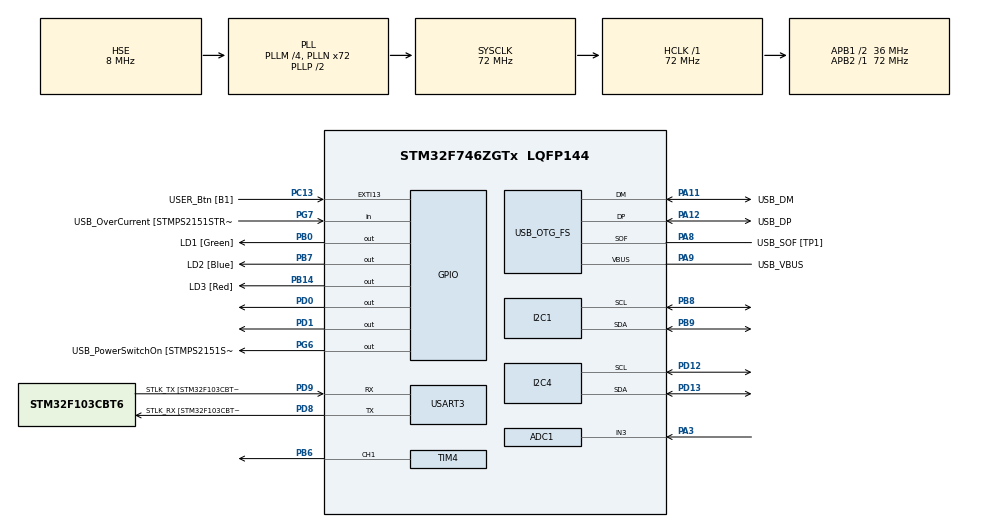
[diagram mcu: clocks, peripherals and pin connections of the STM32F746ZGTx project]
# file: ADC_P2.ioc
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ADC1.Channel-0\#ChannelRegularConversion=ADC_CHANNEL_3
ADC1.NbrOfConversionFlag=1
ADC1.Rank-0\#ChannelRegularConversion=1
ADC1.SamplingTime-0\#ChannelRegularConversion=ADC_SAMPLETIME_3CYCLES
ADC1.master=1
I2C1.Timing=0x00808CD2
I2C4.Timing=0x00808CD2
Mcu.Family=STM32F7
Mcu.Name=STM32F746ZGTx
Mcu.Package=LQFP144
NVIC.ADC_IRQn=true\:0\:0\:false\:false\:true\:true\:true\:true
NVIC.PriorityGroup=NVIC_PRIORITYGROUP_4
PA1.GPIO_Label=RMII_REF_CLK [LAN8742A-CZ-TR_REFCLK0]
PA1.Signal=ETH_REF_CLK
PA10.GPIO_Label=USB_ID
PA10.Signal=USB_OTG_FS_ID
PA11.GPIO_Label=USB_DM
PA11.Mode=Device_Only
PA11.Signal=USB_OTG_FS_DM
PA12.GPIO_Label=USB_DP
PA12.Mode=Device_Only
PA12.Signal=USB_OTG_FS_DP
PA13.GPIO_Label=TMS
PA13.Mode=Serial_Wire
PA13.Signal=SYS_JTMS-SWDIO
PA14.GPIO_Label=TCK
PA14.Mode=Serial_Wire
PA14.Signal=SYS_JTCK-SWCLK
PA2.GPIO_Label=RMII_MDIO [LAN8742A-CZ-TR_MDIO]
PA2.Signal=ETH_MDIO
PA3.Signal=ADCx_IN3
PA7.GPIO_Label=RMII_CRS_DV [LAN8742A-CZ-TR_CRS_DV]
PA7.Signal=ETH_CRS_DV
PA8.GPIO_Label=USB_SOF [TP1]
PA8.Mode=Activate_SOF_FS
PA8.Signal=USB_OTG_FS_SOF
PA9.GPIO_Label=USB_VBUS
PA9.Mode=Activate_VBUS
PA9.Signal=USB_OTG_FS_VBUS
PB0.GPIO_Label=LD1 [Green]
PB0.Signal=GPIO_Output
PB13.GPIO_Label=RMII_TXD1 [LAN8742A-CZ-TR_TXD1]
PB13.Signal=ETH_TXD1
PB14.GPIO_Label=LD3 [Red]
PB14.GPIO_Speed=GPIO_SPEED_FREQ_LOW
PB14.Signal=GPIO_Output
PB3.GPIO_Label=SW0
PB3.Signal=SYS_JTDO-SWO
PB6.Signal=S_TIM4_CH1
PB7.GPIO_Label=LD2 [Blue]
PB7.Signal=GPIO_Output
PB8.Mode=I2C
PB8.Signal=I2C1_SCL
PB9.Mode=I2C
PB9.Signal=I2C1_SDA
PC1.GPIO_Label=RMII_MDC [LAN8742A-CZ-TR_MDC]
PC1.Signal=ETH_MDC
PC13.GPIO_Label=USER_Btn [B1]
PC13.Signal=GPXTI13
PC14/OSC32_IN.Mode=LSE-External-Oscillator
PC14/OSC32_IN.Signal=RCC_OSC32_IN
PC15/OSC32_OUT.Mode=LSE-External-Oscillator
PC15/OSC32_OUT.Signal=RCC_OSC32_OUT
PC4.GPIO_Label=RMII_RXD0 [LAN8742A-CZ-TR_RXD0]
PC4.Signal=ETH_RXD0
PC5.GPIO_Label=RMII_RXD1 [LAN8742A-CZ-TR_RXD1]
PC5.Signal=ETH_RXD1
PD0.Signal=GPIO_Output
PD1.Signal=GPIO_Output
PD12.Mode=I2C
PD12.Signal=I2C4_SCL
PD13.Mode=I2C
PD13.Signal=I2C4_SDA
PD8.GPIO_Label=STLK_RX [STM32F103CBT6_PA3]
PD8.Mode=Asynchronous
PD8.Signal=USART3_TX
PD9.GPIO_Label=STLK_TX [STM32F103CBT6_PA2]
PD9.Mode=Asynchronous
PD9.Signal=USART3_RX
PG11.GPIO_Label=RMII_TX_EN [LAN8742A-CZ-TR_TXEN]
PG11.Signal=ETH_TX_EN
PG13.GPIO_Label=RMII_TXD0 [LAN8742A-CZ-TR_TXD0]
PG13.Signal=ETH_TXD0
PG6.GPIO_Label=USB_PowerSwitchOn [STMPS2151STR_EN]
PG6.Signal=GPIO_Output
PG7.GPIO_Label=USB_OverCurrent [STMPS2151STR_FAULT]
PG7.Signal=GPIO_Input
PH0/OSC_IN.GPIO_Label=MCO [STM32F103CBT6_PA8]
PH0/OSC_IN.Mode=HSE-External-Clock-Source
PH0/OSC_IN.Signal=RCC_OSC_IN
PH1/OSC_OUT.Mode=HSE-External-Clock-Source
PH1/OSC_OUT.Signal=RCC_OSC_OUT
ProjectManager.HeapSize=0x200
ProjectManager.StackSize=0x400
ProjectManager.TargetToolchain=STM32CubeIDE
RCC.48MHZClocksFreq_Value=24000000
RCC.AHBFreq_Value=72000000
RCC.APB1CLKDivider=RCC_HCLK_DIV2
RCC.APB1Freq_Value=36000000
RCC.APB1TimFreq_Value=72000000
RCC.APB2Freq_Value=72000000
RCC.APB2TimFreq_Value=72000000
RCC.CortexFreq_Value=72000000
RCC.HCLKFreq_Value=72000000
RCC.HSE_VALUE=8000000
RCC.HSI_VALUE=16000000
RCC.PLLM=4
RCC.PLLMUL=RCC_PLL_MUL9
RCC.PLLN=72
RCC.PLLQ=3
RCC.PRESCALERUSB=RCC_USBCLKSOURCE_PLL_DIV1_5
RCC.SYSCLKFreq_VALUE=72000000
RCC.SYSCLKSource=RCC_SYSCLKSOURCE_PLLCLK
RCC.SYSCLKSourceVirtual=RCC_SYSCLKSOURCE_PLLCLK
RCC.USBFreq_Value=48000000
RCC.VCOOutputFreq_Value=144000000
SH.ADCx_IN3.0=ADC1_IN3,IN3
SH.S_TIM4_CH1.0=TIM4_CH1,PWM Generation1 CH1
TIM4.AutoReloadPreload=TIM_AUTORELOAD_PRELOAD_ENABLE
TIM4.Channel-PWM\ Generation1\ CH1=TIM_CHANNEL_1
TIM4.Period=999
TIM4.Prescaler=71
USART3.VirtualMode-Asynchronous=VM_ASYNC
USB_OTG_FS.VirtualMode=Device_Only
VP_TIM4_VS_ClockSourceINT.Mode=Internal
board=NUCLEO-F746ZG

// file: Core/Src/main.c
/* USER CODE BEGIN Header */
/**
  ******************************************************************************
  * @file           : main.c
  * @brief          : Main program body
  ******************************************************************************
  * ADC reading from A0 (PA3) pin
  * Two versions:
  *  - direct reading (HAL_ADC_PollForConversion)
  *  - interrupt reading
  ******************************************************************************
  */
/* USER CODE END Header */
#include "main.h"

/* USER CODE BEGIN Includes */
#include "i2c-lcd.h"
#include "BMPXX80.h"

#include <stdio.h>
#include <string.h>
/* USER CODE END Includes */

ADC_HandleTypeDef hadc1;

I2C_HandleTypeDef hi2c1;
I2C_HandleTypeDef hi2c4;

TIM_HandleTypeDef htim4;

UART_HandleTypeDef huart3;

PCD_HandleTypeDef hpcd_USB_OTG_FS;

/* USER CODE BEGIN PV */
unsigned long lastTime;
static float Y, P = 0.0;
int32_t pressure;
float temperature, huminidity, error, wypelnienie;
float temp_zadana=27, I = 0.0, wzmI = 0.16, roznica = 0;
int AdcValue=0 , zad = 28, i =1;
int state = 0;
/* USER CODE END PV */

void SystemClock_Config(void);
static void MX_GPIO_Init(void);
static void MX_USART3_UART_Init(void);
static void MX_USB_OTG_FS_PCD_Init(void);
static void MX_ADC1_Init(void);
static void MX_I2C1_Init(void);
static void MX_I2C4_Init(void);
static void MX_TIM4_Init(void);

/* USER CODE BEGIN 0 */

float regulator(float e_new, int i, float roznica) {

	//Oblcizany czas próbkowania
	unsigned long now = HAL_GetTick();
	double timeChange = (double)(now - lastTime);

	// Parametry regulatora
	static const float kp = 19.7517;
	static const float ki = 0.078;
	static float e = 0.0;

	//Wyznaczenie parametrów regulatora
	P = e_new*kp;
	//Dodane wzmocnienie dla pętli anty-windup
	if (i == 1)
			{I = (I + (ki * (((e_new + e) * timeChange/1000) / 2))) + wzmI*roznica;}
	else
		I = (I + (ki * (((e_new + e) * timeChange/1000) / 2)));

	// Obliczenie sygnału sterującego PWM oraz podanie czasu pobrania kolejnej próbki
	e = e_new;
	Y = P + I;

	lastTime = now;

	return Y;
}

/* USER CODE END 0 */

int main(void)
{
  /* USER CODE BEGIN 1 */
	#define MAX_LENGTH 30
    char text[MAX_LENGTH];

  //uint16_t length;
  /* USER CODE END 1 */

  /* MCU Configuration--------------------------------------------------------*/

  /* Reset of all peripherals, Initializes the Flash interface and the Systick. */
  HAL_Init();

  /* Configure the system clock */
  SystemClock_Config();

  /* Initialize all configured peripherals */
  MX_GPIO_Init();
  MX_USART3_UART_Init();
  MX_USB_OTG_FS_PCD_Init();
  MX_ADC1_Init();
  MX_I2C1_Init();
  MX_I2C4_Init();
  MX_TIM4_Init();
  /* USER CODE BEGIN 2 */

  // Czujnik temperatury
  BMP280_Init(&hi2c1, BMP280_TEMPERATURE_16BIT, BMP280_STANDARD, BMP280_FORCEDMODE);

  //Wyświetlacz LCD
  lcd_init ();

  //Sygnał PWM podawany na bazę tranzystora
  HAL_TIM_PWM_Start(&htim4, TIM_CHANNEL_1);

  /* USER CODE END 2 */

  /* Infinite loop */
  while (1)
  {

    /* USER CODE BEGIN 3 */

	  //Odczyt temperatury i ciśnienia
 	  BMP280_ReadTemperatureAndPressure(&temperature, &pressure);
 	  	  //Zamiana na hPa
 	  	  pressure = pressure/100;

	  	  // Przesyłanie wartości temperatury przez UART
	  	  sprintf((char*)text, "%.2f, ", temperature);					// Formatowanie wartości temperatury z dwoma miejscami po przecinku
	  	  HAL_UART_Transmit(&huart3, (uint8_t*)text, strlen(text), 1000);	 // Przesłanie sformatowanego tekstu przez UART

	  	  lcd_clear ();
	  	  lcd_put_cur(0, 0);											// Ustawienie kursora na początkową pozycję
	  	  sprintf((char*)text, "Temp.  %.2f  C", temperature);			// Tworzenie tekstu z aktualną temperaturą
	  	  lcd_send_string(text);
	  	  lcd_put_cur(1, 0);

	  	  // Pomiar wartości na kanale ADC
	  	  HAL_ADC_Start(&hadc1); 										// Rozpoczęcie konwersji ADC na kanale hadc1
	  	  HAL_ADC_PollForConversion(&hadc1, HAL_MAX_DELAY);				// Oczekiwanie na zakończenie konwersji ADC w trybie Polling
	  	  AdcValue = HAL_ADC_GetValue(&hadc1);							// Odczytanie wartości
	  	  HAL_ADC_Start_IT(&hadc1);										// Ponowne uruchomienie konwersji ADC w trybie przerwań
	  	  HAL_Delay(100);

	  	  sprintf((char*)text, "T_zad. %.2f  C", temp_zadana);
	  	  lcd_send_string(text);

	  	  //Obliczana wartość uchybu w stopniach oraz sygnału sterującego w % wypełnienia
	  	  error = temp_zadana-temperature;
	  	  wypelnienie = regulator(error, i, roznica);

	  	  if (wypelnienie >= 0){
	  		  //100% wypełnienia to wartość 1000 jako argument funkcji
	  		  wypelnienie = wypelnienie*10;

	  		  //Ograniczenie sygnału sterującego
	  		  if(wypelnienie > 1000){
	  			  //Różnica przechodzi w sprzężeniu zwrotnym do częsci całkującej
	  			  roznica = 1000-wypelnienie;
	  			  wypelnienie = 1000;
	  			  i = 1;
	  		  }
	  		  else{
	  			  __HAL_TIM_SET_COMPARE(&htim4, TIM_CHANNEL_1, wypelnienie);
	  			  i = 0;
	  			  roznica = 0;}
	  	  	  }
	  	  else if (wypelnienie < 0 ){
	  		//Ograniczenie sygnału sterującego
	  	  	  wypelnienie = 0;
	  	  	__HAL_TIM_SET_COMPARE(&htim4, TIM_CHANNEL_1, wypelnienie);
	  	  	i = 0 ;
	  	  	roznica = 0;
	  	  	}
	  	  if(temp_zadana<temperature){
	  		HAL_GPIO_WritePin(GPIOD, GPIO_PIN_1, GPIO_PIN_SET);
	  		HAL_GPIO_WritePin(GPIOD, GPIO_PIN_0, GPIO_PIN_RESET);
	  	  }
	  	  else{
	  		HAL_GPIO_WritePin(GPIOD, GPIO_PIN_0, GPIO_PIN_SET);
	  		HAL_GPIO_WritePin(GPIOD, GPIO_PIN_1, GPIO_PIN_RESET);
	  	  }

	  	  HAL_Delay(500);
  }

  /* USER CODE END 3 */
}

void SystemClock_Config(void)
{
  RCC_OscInitTypeDef RCC_OscInitStruct = {0};
  RCC_ClkInitTypeDef RCC_ClkInitStruct = {0};

  /** Configure LSE Drive Capability
  */
  HAL_PWR_EnableBkUpAccess();

  /** Configure the main internal regulator output voltage
  */
  __HAL_RCC_PWR_CLK_ENABLE();
  __HAL_PWR_VOLTAGESCALING_CONFIG(PWR_REGULATOR_VOLTAGE_SCALE3);

  /** Initializes the RCC Oscillators according to the specified parameters
  * in the RCC_OscInitTypeDef structure.
  */
  RCC_OscInitStruct.OscillatorType = RCC_OSCILLATORTYPE_HSE;
  RCC_OscInitStruct.HSEState = RCC_HSE_BYPASS;
  RCC_OscInitStruct.PLL.PLLState = RCC_PLL_ON;
  RCC_OscInitStruct.PLL.PLLSource = RCC_PLLSOURCE_HSE;
  RCC_OscInitStruct.PLL.PLLM = 4;
  RCC_OscInitStruct.PLL.PLLN = 72;
  RCC_OscInitStruct.PLL.PLLP = RCC_PLLP_DIV2;
  RCC_OscInitStruct.PLL.PLLQ = 3;
  if (HAL_RCC_OscConfig(&RCC_OscInitStruct) != HAL_OK)
  {
    Error_Handler();
  }

  /** Initializes the CPU, AHB and APB buses clocks
  */
  RCC_ClkInitStruct.ClockType = RCC_CLOCKTYPE_HCLK|RCC_CLOCKTYPE_SYSCLK
                              |RCC_CLOCKTYPE_PCLK1|RCC_CLOCKTYPE_PCLK2;
  RCC_ClkInitStruct.SYSCLKSource = RCC_SYSCLKSOURCE_PLLCLK;
  RCC_ClkInitStruct.AHBCLKDivider = RCC_SYSCLK_DIV1;
  RCC_ClkInitStruct.APB1CLKDivider = RCC_HCLK_DIV2;
  RCC_ClkInitStruct.APB2CLKDivider = RCC_HCLK_DIV1;

  if (HAL_RCC_ClockConfig(&RCC_ClkInitStruct, FLASH_LATENCY_2) != HAL_OK)
  {
    Error_Handler();
  }
}

static void MX_ADC1_Init(void)
{

  ADC_ChannelConfTypeDef sConfig = {0};

  /** Configure the global features of the ADC (Clock, Resolution, Data Alignment and number of conversion)
  */
  hadc1.Instance = ADC1;
  hadc1.Init.ClockPrescaler = ADC_CLOCK_SYNC_PCLK_DIV2;
  hadc1.Init.Resolution = ADC_RESOLUTION_12B;
  hadc1.Init.ScanConvMode = ADC_SCAN_DISABLE;
  hadc1.Init.ContinuousConvMode = DISABLE;
  hadc1.Init.DiscontinuousConvMode = DISABLE;
  hadc1.Init.ExternalTrigConvEdge = ADC_EXTERNALTRIGCONVEDGE_NONE;
  hadc1.Init.ExternalTrigConv = ADC_SOFTWARE_START;
  hadc1.Init.DataAlign = ADC_DATAALIGN_RIGHT;
  hadc1.Init.NbrOfConversion = 1;
  hadc1.Init.DMAContinuousRequests = DISABLE;
  hadc1.Init.EOCSelection = ADC_EOC_SINGLE_CONV;
  if (HAL_ADC_Init(&hadc1) != HAL_OK)
  {
    Error_Handler();
  }

  /** Configure for the selected ADC regular channel its corresponding rank in the sequencer and its sample time.
  */
  sConfig.Channel = ADC_CHANNEL_3;
  sConfig.Rank = ADC_REGULAR_RANK_1;
  sConfig.SamplingTime = ADC_SAMPLETIME_3CYCLES;
  if (HAL_ADC_ConfigChannel(&hadc1, &sConfig) != HAL_OK)
  {
    Error_Handler();
  }

}

static void MX_I2C1_Init(void)
{

  hi2c1.Instance = I2C1;
  hi2c1.Init.Timing = 0x00808CD2;
  hi2c1.Init.OwnAddress1 = 0;
  hi2c1.Init.AddressingMode = I2C_ADDRESSINGMODE_7BIT;
  hi2c1.Init.DualAddressMode = I2C_DUALADDRESS_DISABLE;
  hi2c1.Init.OwnAddress2 = 0;
  hi2c1.Init.OwnAddress2Masks = I2C_OA2_NOMASK;
  hi2c1.Init.GeneralCallMode = I2C_GENERALCALL_DISABLE;
  hi2c1.Init.NoStretchMode = I2C_NOSTRETCH_DISABLE;
  if (HAL_I2C_Init(&hi2c1) != HAL_OK)
  {
    Error_Handler();
  }

  /** Configure Analogue filter
  */
  if (HAL_I2CEx_ConfigAnalogFilter(&hi2c1, I2C_ANALOGFILTER_ENABLE) != HAL_OK)
  {
    Error_Handler();
  }

  /** Configure Digital filter
  */
  if (HAL_I2CEx_ConfigDigitalFilter(&hi2c1, 0) != HAL_OK)
  {
    Error_Handler();
  }

}

static void MX_I2C4_Init(void)
{

  hi2c4.Instance = I2C4;
  hi2c4.Init.Timing = 0x00808CD2;
  hi2c4.Init.OwnAddress1 = 0;
  hi2c4.Init.AddressingMode = I2C_ADDRESSINGMODE_7BIT;
  hi2c4.Init.DualAddressMode = I2C_DUALADDRESS_DISABLE;
  hi2c4.Init.OwnAddress2 = 0;
  hi2c4.Init.OwnAddress2Masks = I2C_OA2_NOMASK;
  hi2c4.Init.GeneralCallMode = I2C_GENERALCALL_DISABLE;
  hi2c4.Init.NoStretchMode = I2C_NOSTRETCH_DISABLE;
  if (HAL_I2C_Init(&hi2c4) != HAL_OK)
  {
    Error_Handler();
  }

  /** Configure Analogue filter
  */
  if (HAL_I2CEx_ConfigAnalogFilter(&hi2c4, I2C_ANALOGFILTER_ENABLE) != HAL_OK)
  {
    Error_Handler();
  }

  /** Configure Digital filter
  */
  if (HAL_I2CEx_ConfigDigitalFilter(&hi2c4, 0) != HAL_OK)
  {
    Error_Handler();
  }

}

static void MX_TIM4_Init(void)
{

  TIM_ClockConfigTypeDef sClockSourceConfig = {0};
  TIM_MasterConfigTypeDef sMasterConfig = {0};
  TIM_OC_InitTypeDef sConfigOC = {0};

  htim4.Instance = TIM4;
  htim4.Init.Prescaler = 71;
  htim4.Init.CounterMode = TIM_COUNTERMODE_UP;
  htim4.Init.Period = 999;
  htim4.Init.ClockDivision = TIM_CLOCKDIVISION_DIV1;
  htim4.Init.AutoReloadPreload = TIM_AUTORELOAD_PRELOAD_ENABLE;
  if (HAL_TIM_Base_Init(&htim4) != HAL_OK)
  {
    Error_Handler();
  }
  sClockSourceConfig.ClockSource = TIM_CLOCKSOURCE_INTERNAL;
  if (HAL_TIM_ConfigClockSource(&htim4, &sClockSourceConfig) != HAL_OK)
  {
    Error_Handler();
  }
  if (HAL_TIM_PWM_Init(&htim4) != HAL_OK)
  {
    Error_Handler();
  }
  sMasterConfig.MasterOutputTrigger = TIM_TRGO_RESET;
  sMasterConfig.MasterSlaveMode = TIM_MASTERSLAVEMODE_DISABLE;
  if (HAL_TIMEx_MasterConfigSynchronization(&htim4, &sMasterConfig) != HAL_OK)
  {
    Error_Handler();
  }
  sConfigOC.OCMode = TIM_OCMODE_PWM1;
  sConfigOC.Pulse = 0;
  sConfigOC.OCPolarity = TIM_OCPOLARITY_HIGH;
  sConfigOC.OCFastMode = TIM_OCFAST_DISABLE;
  if (HAL_TIM_PWM_ConfigChannel(&htim4, &sConfigOC, TIM_CHANNEL_1) != HAL_OK)
  {
    Error_Handler();
  }
  HAL_TIM_MspPostInit(&htim4);

}

static void MX_USART3_UART_Init(void)
{

  huart3.Instance = USART3;
  huart3.Init.BaudRate = 115200;
  huart3.Init.WordLength = UART_WORDLENGTH_8B;
  huart3.Init.StopBits = UART_STOPBITS_1;
  huart3.Init.Parity = UART_PARITY_NONE;
  huart3.Init.Mode = UART_MODE_TX_RX;
  huart3.Init.HwFlowCtl = UART_HWCONTROL_NONE;
  huart3.Init.OverSampling = UART_OVERSAMPLING_16;
  huart3.Init.OneBitSampling = UART_ONE_BIT_SAMPLE_DISABLE;
  huart3.AdvancedInit.AdvFeatureInit = UART_ADVFEATURE_NO_INIT;
  if (HAL_UART_Init(&huart3) != HAL_OK)
  {
    Error_Handler();
  }

}

static void MX_USB_OTG_FS_PCD_Init(void)
{

  hpcd_USB_OTG_FS.Instance = USB_OTG_FS;
  hpcd_USB_OTG_FS.Init.dev_endpoints = 6;
  hpcd_USB_OTG_FS.Init.speed = PCD_SPEED_FULL;
  hpcd_USB_OTG_FS.Init.dma_enable = DISABLE;
  hpcd_USB_OTG_FS.Init.phy_itface = PCD_PHY_EMBEDDED;
  hpcd_USB_OTG_FS.Init.Sof_enable = ENABLE;
  hpcd_USB_OTG_FS.Init.low_power_enable = DISABLE;
  hpcd_USB_OTG_FS.Init.lpm_enable = DISABLE;
  hpcd_USB_OTG_FS.Init.vbus_sensing_enable = ENABLE;
  hpcd_USB_OTG_FS.Init.use_dedicated_ep1 = DISABLE;
  if (HAL_PCD_Init(&hpcd_USB_OTG_FS) != HAL_OK)
  {
    Error_Handler();
  }

}

static void MX_GPIO_Init(void)
{
  GPIO_InitTypeDef GPIO_InitStruct = {0};

  /* GPIO Ports Clock Enable */
  __HAL_RCC_GPIOC_CLK_ENABLE();
  __HAL_RCC_GPIOH_CLK_ENABLE();
  __HAL_RCC_GPIOA_CLK_ENABLE();
  __HAL_RCC_GPIOB_CLK_ENABLE();
  __HAL_RCC_GPIOD_CLK_ENABLE();
  __HAL_RCC_GPIOG_CLK_ENABLE();

  /*Configure GPIO pin Output Level */
  HAL_GPIO_WritePin(GPIOB, LD1_Pin|LD3_Pin|LD2_Pin, GPIO_PIN_RESET);

  /*Configure GPIO pin Output Level */
  HAL_GPIO_WritePin(USB_PowerSwitchOn_GPIO_Port, USB_PowerSwitchOn_Pin, GPIO_PIN_RESET);

  /*Configure GPIO pin Output Level */
  HAL_GPIO_WritePin(GPIOD, GPIO_PIN_0|GPIO_PIN_1, GPIO_PIN_RESET);

  /*Configure GPIO pin : USER_Btn_Pin */
  GPIO_InitStruct.Pin = USER_Btn_Pin;
  GPIO_InitStruct.Mode = GPIO_MODE_IT_RISING;
  GPIO_InitStruct.Pull = GPIO_NOPULL;
  HAL_GPIO_Init(USER_Btn_GPIO_Port, &GPIO_InitStruct);

  /*Configure GPIO pins : RMII_MDC_Pin RMII_RXD0_Pin RMII_RXD1_Pin */
  GPIO_InitStruct.Pin = RMII_MDC_Pin|RMII_RXD0_Pin|RMII_RXD1_Pin;
  GPIO_InitStruct.Mode = GPIO_MODE_AF_PP;
  GPIO_InitStruct.Pull = GPIO_NOPULL;
  GPIO_InitStruct.Speed = GPIO_SPEED_FREQ_VERY_HIGH;
  GPIO_InitStruct.Alternate = GPIO_AF11_ETH;
  HAL_GPIO_Init(GPIOC, &GPIO_InitStruct);

  /*Configure GPIO pins : RMII_REF_CLK_Pin RMII_MDIO_Pin RMII_CRS_DV_Pin */
  GPIO_InitStruct.Pin = RMII_REF_CLK_Pin|RMII_MDIO_Pin|RMII_CRS_DV_Pin;
  GPIO_InitStruct.Mode = GPIO_MODE_AF_PP;
  GPIO_InitStruct.Pull = GPIO_NOPULL;
  GPIO_InitStruct.Speed = GPIO_SPEED_FREQ_VERY_HIGH;
  GPIO_InitStruct.Alternate = GPIO_AF11_ETH;
  HAL_GPIO_Init(GPIOA, &GPIO_InitStruct);

  /*Configure GPIO pins : LD1_Pin LD3_Pin LD2_Pin */
  GPIO_InitStruct.Pin = LD1_Pin|LD3_Pin|LD2_Pin;
  GPIO_InitStruct.Mode = GPIO_MODE_OUTPUT_PP;
  GPIO_InitStruct.Pull = GPIO_NOPULL;
  GPIO_InitStruct.Speed = GPIO_SPEED_FREQ_LOW;
  HAL_GPIO_Init(GPIOB, &GPIO_InitStruct);

  /*Configure GPIO pin : RMII_TXD1_Pin */
  GPIO_InitStruct.Pin = RMII_TXD1_Pin;
  GPIO_InitStruct.Mode = GPIO_MODE_AF_PP;
  GPIO_InitStruct.Pull = GPIO_NOPULL;
  GPIO_InitStruct.Speed = GPIO_SPEED_FREQ_VERY_HIGH;
  GPIO_InitStruct.Alternate = GPIO_AF11_ETH;
  HAL_GPIO_Init(RMII_TXD1_GPIO_Port, &GPIO_InitStruct);

  /*Configure GPIO pin : USB_PowerSwitchOn_Pin */
  GPIO_InitStruct.Pin = USB_PowerSwitchOn_Pin;
  GPIO_InitStruct.Mode = GPIO_MODE_OUTPUT_PP;
  GPIO_InitStruct.Pull = GPIO_NOPULL;
  GPIO_InitStruct.Speed = GPIO_SPEED_FREQ_LOW;
  HAL_GPIO_Init(USB_PowerSwitchOn_GPIO_Port, &GPIO_InitStruct);

  /*Configure GPIO pin : USB_OverCurrent_Pin */
  GPIO_InitStruct.Pin = USB_OverCurrent_Pin;
  GPIO_InitStruct.Mode = GPIO_MODE_INPUT;
  GPIO_InitStruct.Pull = GPIO_NOPULL;
  HAL_GPIO_Init(USB_OverCurrent_GPIO_Port, &GPIO_InitStruct);

  /*Configure GPIO pins : PD0 PD1 */
  GPIO_InitStruct.Pin = GPIO_PIN_0|GPIO_PIN_1;
  GPIO_InitStruct.Mode = GPIO_MODE_OUTPUT_PP;
  GPIO_InitStruct.Pull = GPIO_NOPULL;
  GPIO_InitStruct.Speed = GPIO_SPEED_FREQ_LOW;
  HAL_GPIO_Init(GPIOD, &GPIO_InitStruct);

  /*Configure GPIO pins : RMII_TX_EN_Pin RMII_TXD0_Pin */
  GPIO_InitStruct.Pin = RMII_TX_EN_Pin|RMII_TXD0_Pin;
  GPIO_InitStruct.Mode = GPIO_MODE_AF_PP;
  GPIO_InitStruct.Pull = GPIO_NOPULL;
  GPIO_InitStruct.Speed = GPIO_SPEED_FREQ_VERY_HIGH;
  GPIO_InitStruct.Alternate = GPIO_AF11_ETH;
  HAL_GPIO_Init(GPIOG, &GPIO_InitStruct);

}

/* USER CODE BEGIN 4 */
void HAL_ADC_ConvCpltCallback(ADC_HandleTypeDef* hadc)
{
    // Read & Update The ADC Result
    AdcValue = HAL_ADC_GetValue(&hadc1);

    // Conversion to temperature in the case of MCP9700
    temp_zadana = (float) (((AdcValue*3.3)/40950)*100/3)+20 ;
}
/* USER CODE END 4 */

void Error_Handler(void)
{
  __disable_irq();
  while (1)
  {
  }
}
